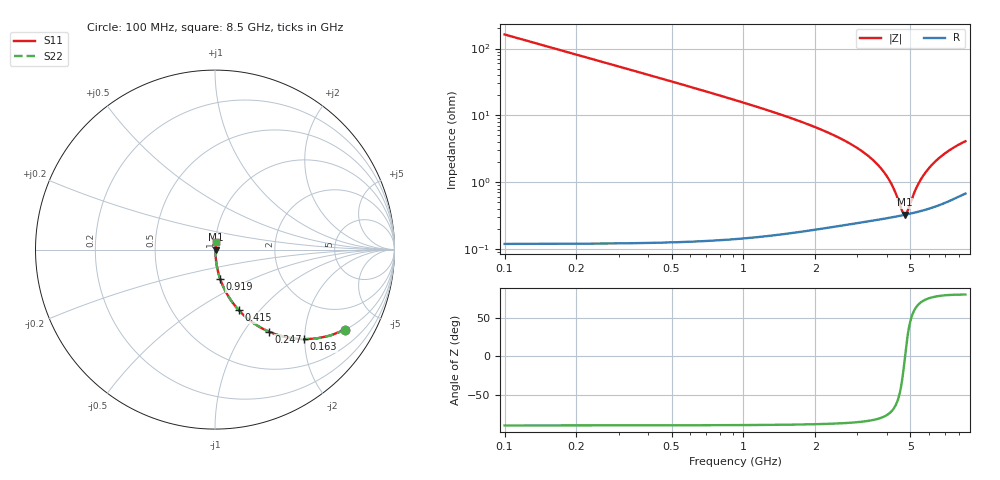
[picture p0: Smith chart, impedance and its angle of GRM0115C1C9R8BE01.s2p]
!Murata Part Number: GRM0115C1C9R8BE01
!These Parameters are Measured in Series Mode Connection
!Data Generated on Mar 30, 2021
!  o--ll--o
!Port1  Port2
!  o------o
!Operation Temp=25[degC], DC Bias Voltage=0[V]
!Freq. Start=100[MHz] Stop=9[GHz] 401[Steps]
# Hz S RI R 50
!Freq.(Hz) S11(Real) S11(Imag) S21(Real) S21(Imag) S12(Real) S12(Imag) S22(Real) S22(Imag)
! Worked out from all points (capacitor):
!   401 points, 100 MHz to 8.5 GHz, reference 50 ohm
!   read as one part in series: C = 9.8 pF near 142 MHz
!   lowest |Z| = 323 mohm at 4.741 GHz (marker M1)
!   series resonance near 4.75 GHz, so ESL is about 110 pH
!   S11 on the Smith chart (normalised r, x): 100 MHz: 1.00, -3.25; 163 MHz: 1.00, -1.99; 247 MHz: 1.00, -1.31; 415 MHz: 1.00, -0.78; 919 MHz: 1.00, -0.34; 8.5 GHz: 1.01, +0.08
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1e8  0.7247 -0.4463  0.2753 0.4463  0.2753 0.4463  0.7247 -0.4463
1.63e8  0.4975 -0.4994  0.5025 0.4994  0.5025 0.4994  0.4975 -0.4994
2.47e8  0.3009 -0.4578  0.6991 0.4578  0.6991 0.4578  0.3009 -0.4578
3.31e8  0.193 -0.3934  0.807 0.3934  0.807 0.3934  0.193 -0.3934
4.15e8  0.1317 -0.3366  0.8683 0.3366  0.8683 0.3366  0.1317 -0.3366
6.04e8  0.0663 -0.2464  0.9337 0.2464  0.9337 0.2464  0.0663 -0.2464
9.19e8  0.0293 -0.1645  0.9707 0.1645  0.9707 0.1645  0.0293 -0.1645
1.507e9  0.0108 -0.0952  0.9892 0.0952  0.9892 0.0952  0.0108 -0.0952
2.914e9  0.00355 -0.0342  0.9964 0.0342  0.9964 0.0342  0.00355 -0.0342
3.376e9  0.00314 -0.0234  0.9969 0.0234  0.9969 0.0234  0.00314 -0.0234
3.754e9  0.00301 -0.0159  0.997 0.0159  0.997 0.0159  0.00301 -0.0159
4.048e9  0.00301 -0.0108  0.997 0.0108  0.997 0.0108  0.00301 -0.0108
4.3e9  0.00305 -0.00669  0.997 0.00669  0.997 0.00669  0.00305 -0.00669
4.615e9  0.00316 -0.00193  0.9968 0.00193  0.9968 0.00193  0.00316 -0.00193
4.741e9  0.00322 -0.000126  0.9968 0.000126  0.9968 0.000126  0.00322 -0.000126
4.846e9  0.00327 0.00134  0.9967 -0.00134  0.9967 -0.00134  0.00327 0.00134
5.119e9  0.00344 0.00502  0.9966 -0.00502  0.9966 -0.00502  0.00344 0.00502
5.308e9  0.00358 0.00745  0.9964 -0.00745  0.9964 -0.00745  0.00358 0.00745
5.707e9  0.00393 0.0123  0.9961 -0.0123  0.9961 -0.0123  0.00393 0.0123
6.316e9  0.0046 0.0193  0.9954 -0.0193  0.9954 -0.0193  0.0046 0.0193
7.114e9  0.00575 0.0275  0.9943 -0.0275  0.9943 -0.0275  0.00575 0.0275
8.5e9  0.00826 0.0397  0.9917 -0.0397  0.9917 -0.0397  0.00826 0.0397
